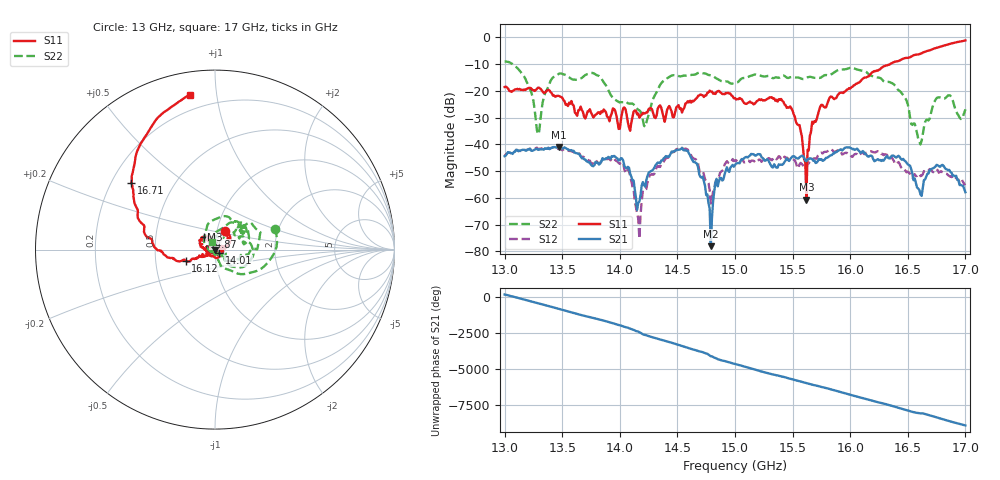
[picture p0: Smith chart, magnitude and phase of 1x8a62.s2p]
!Keysight Technologies,P9374A,MY57211807,A.19.30.04
!Date: Friday, May 08, 2026 14:16:09
!Correction: S11(C  2-Port  )
!S21(C  2-Port  )
!S12(C  2-Port  )
!S22(C  2-Port  )
!S2P File: Measurements: S11, S21, S12, S22:
# Hz S  dB  R 50
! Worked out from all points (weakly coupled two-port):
!   401 points, 13 GHz to 17 GHz, reference 50 ohm
!   highest |S21| = -40.92 dB at 13.47 GHz (marker M1); lowest = -78.0 dB at 14.79 GHz (marker M2)
!   lowest |S11| = -60.6 dB at 15.62 GHz (marker M3), VSWR 1.00, Z = 49.9 - j0.00331 ohm
!   |S11| at or under -10 dB: start of sweep to 16.35 GHz
!   |S22| runs from -40.0 to -9.1 dB; largest |S21 - S12| = 0.0027
!   S11 on the Smith chart (normalised r, x): 13 GHz: 1.09, +0.23; 14.01 GHz: 1.04, -0.04; 14.87 GHz: 0.88, +0.13; 16.12 GHz: 0.71, -0.09; 16.71 GHz: 0.28, +0.32; 17 GHz: 0.11, +0.84
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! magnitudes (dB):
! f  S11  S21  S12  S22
! 13 GHz  -18.5  -44.4  -44.3  -9.1
! 13.18 GHz  -19.7  -42.3  -42.1  -15.5
! 13.29 GHz  -18.8  -42.0  -41.7  -36.2
! 13.47 GHz  -21.9  -40.9  -41.3  -13.6
! 13.67 GHz  -27.1  -45.2  -44.8  -15.2
! 14.01 GHz  -30.7  -45.1  -46.5  -24.2
! 14.09 GHz  -34.9  -51.0  -52.1  -24.8
! 14.16 GHz  -28.5  -61.9  -67.7  -27.1
! 14.23 GHz  -28.1  -53.4  -56.7  -31.8
! 14.34 GHz  -25.8  -46.8  -48.4  -18.6
! 14.59 GHz  -23.9  -42.5  -41.9  -14.3
! 14.79 GHz  -20.3  -78.0  -62.1  -14.2
! 14.87 GHz  -20.4  -52.6  -50.6  -16.1
! 15 GHz  -22.7  -47.8  -46.0  -17.0
! 15.48 GHz  -25.8  -45.4  -46.2  -14.9
! 15.62 GHz  -60.6  -46.3  -47.9  -15.1
! 15.67 GHz  -31.5  -45.5  -45.9  -15.0
! 16.12 GHz  -15.2  -42.9  -43.6  -12.6
! 16.34 GHz  -10.2  -45.2  -45.5  -16.7
! 16.6 GHz  -6.3  -57.0  -51.1  -39.0
! 16.71 GHz  -4.5  -49.1  -50.1  -26.8
! 17 GHz  -1.2  -57.9  -55.2  -26.9
